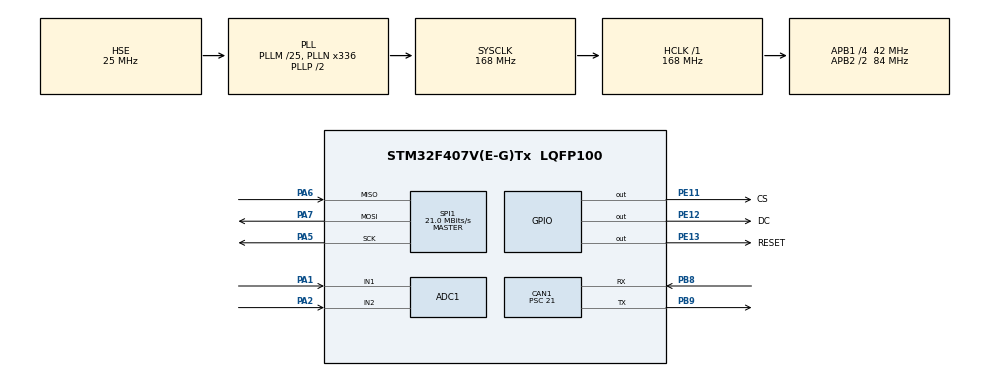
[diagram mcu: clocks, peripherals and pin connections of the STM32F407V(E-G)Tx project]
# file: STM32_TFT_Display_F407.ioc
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ADC1.Channel-0\#ChannelRegularConversion=ADC_CHANNEL_1
ADC1.ContinuousConvMode=ENABLE
ADC1.NbrOfConversionFlag=1
ADC1.Rank-0\#ChannelRegularConversion=1
ADC1.SamplingTime-0\#ChannelRegularConversion=ADC_SAMPLETIME_3CYCLES
ADC1.master=1
CAN1.BS1=CAN_BS1_2TQ
CAN1.CalculateBaudRate=500000
CAN1.CalculateTimeBit=2000
CAN1.CalculateTimeQuantum=500.0
CAN1.Mode=CAN_MODE_NORMAL
CAN1.NART=ENABLE
CAN1.Prescaler=21
Dma.Request0=SPI1_TX
Dma.SPI1_TX.0.Direction=DMA_MEMORY_TO_PERIPH
Dma.SPI1_TX.0.FIFOMode=DMA_FIFOMODE_DISABLE
Dma.SPI1_TX.0.Instance=DMA2_Stream3
Dma.SPI1_TX.0.MemDataAlignment=DMA_MDATAALIGN_BYTE
Dma.SPI1_TX.0.MemInc=DMA_MINC_ENABLE
Dma.SPI1_TX.0.Mode=DMA_NORMAL
Dma.SPI1_TX.0.PeriphDataAlignment=DMA_PDATAALIGN_BYTE
Dma.SPI1_TX.0.PeriphInc=DMA_PINC_DISABLE
Dma.SPI1_TX.0.Priority=DMA_PRIORITY_LOW
Mcu.Family=STM32F4
Mcu.Name=STM32F407V(E-G)Tx
Mcu.Package=LQFP100
NVIC.ADC_IRQn=true\:0\:0\:false\:false\:true\:true\:true\:true
NVIC.CAN1_RX1_IRQn=true\:4\:0\:true\:false\:true\:true\:true\:true
NVIC.DMA2_Stream3_IRQn=true\:5\:0\:true\:false\:true\:false\:true\:true
NVIC.PriorityGroup=NVIC_PRIORITYGROUP_4
NVIC.SPI1_IRQn=true\:5\:0\:true\:false\:true\:true\:true\:true
PA1.Signal=ADCx_IN1
PA13.Mode=Serial_Wire
PA13.Signal=SYS_JTMS-SWDIO
PA14.Mode=Serial_Wire
PA14.Signal=SYS_JTCK-SWCLK
PA2.Signal=ADCx_IN2
PA5.Mode=Full_Duplex_Master
PA5.Signal=SPI1_SCK
PA6.Mode=Full_Duplex_Master
PA6.Signal=SPI1_MISO
PA7.Mode=Full_Duplex_Master
PA7.Signal=SPI1_MOSI
PB8.Mode=CAN_Activate
PB8.Signal=CAN1_RX
PB9.Mode=CAN_Activate
PB9.Signal=CAN1_TX
PE11.GPIO_Label=CS
PE11.Signal=GPIO_Output
PE12.GPIO_Label=DC
PE12.Signal=GPIO_Output
PE13.GPIO_Label=RESET
PE13.Signal=GPIO_Output
PH0-OSC_IN.Mode=HSE-External-Oscillator
PH0-OSC_IN.Signal=RCC_OSC_IN
PH1-OSC_OUT.Mode=HSE-External-Oscillator
PH1-OSC_OUT.Signal=RCC_OSC_OUT
ProjectManager.HeapSize=0x200
ProjectManager.StackSize=0x400
ProjectManager.TargetToolchain=STM32CubeIDE
RCC.48MHZClocksFreq_Value=84000000
RCC.AHBFreq_Value=168000000
RCC.APB1CLKDivider=RCC_HCLK_DIV4
RCC.APB1Freq_Value=42000000
RCC.APB1TimFreq_Value=84000000
RCC.APB2CLKDivider=RCC_HCLK_DIV2
RCC.APB2Freq_Value=84000000
RCC.APB2TimFreq_Value=168000000
RCC.CortexFreq_Value=168000000
RCC.HCLKFreq_Value=168000000
RCC.HSE_VALUE=25000000
RCC.HSI_VALUE=16000000
RCC.LSE_VALUE=32768
RCC.PLLM=25
RCC.PLLN=336
RCC.PLLSourceVirtual=RCC_PLLSOURCE_HSE
RCC.RCC_RTC_Clock_SourceVirtual=RCC_RTCCLKSOURCE_HSE_DIV31
RCC.RCC_RTC_Clock_Source_FROM_HSE=RCC_RTCCLKSOURCE_HSE_DIV31
RCC.SYSCLKFreq_VALUE=168000000
RCC.SYSCLKSource=RCC_SYSCLKSOURCE_PLLCLK
RCC.VCOOutputFreq_Value=336000000
SH.ADCx_IN1.0=ADC1_IN1,IN1
SH.ADCx_IN2.0=ADC1_IN2,IN2
SPI1.BaudRatePrescaler=SPI_BAUDRATEPRESCALER_4
SPI1.CalculateBaudRate=21.0 MBits/s
SPI1.Direction=SPI_DIRECTION_2LINES
SPI1.Mode=SPI_MODE_MASTER
SPI1.VirtualType=VM_MASTER
VP_RTC_VS_RTC_Activate.Mode=RTC_Enabled
VP_RTC_VS_RTC_Calendar.Mode=RTC_Calendar
board=custom

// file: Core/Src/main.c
/* USER CODE BEGIN Header */
/**
 ******************************************************************************
 * @file           : main.c
 * @brief          : Main program body
 ******************************************************************************
 * @attention
 *
 * Copyright (c) 2025 STMicroelectronics.
 * All rights reserved.
 *
 * This software is licensed under terms that can be found in the LICENSE file
 * in the root directory of this software component.
 * If no LICENSE file comes with this software, it is provided AS-IS.
 *
 ******************************************************************************
 */
/* USER CODE END Header */
#include "main.h"

/* USER CODE BEGIN Includes */
#include "lvgl.h"
#include "LCDController.h"
#include "ili9486_lvgl.h"
#include "ui.h"

/* USER CODE END Includes */

ADC_HandleTypeDef hadc1;

CAN_HandleTypeDef hcan1;

RTC_HandleTypeDef hrtc;

SPI_HandleTypeDef hspi1;
DMA_HandleTypeDef hdma_spi1_tx;

/* USER CODE BEGIN PV */
// -- CAN variables --
CAN_TxHeaderTypeDef TxHeader; // Header instance for the transmit message
uint8_t TxData[8] = "Transmit"; // The data of the transmit message
uint32_t TxMailbox;

CAN_RxHeaderTypeDef RxHeaderBack; // Store the received message's header
CAN_FilterTypeDef sFilterConfig; // Filter configuration for the receive process
uint8_t RxDataBack[8]; // Store the received message

uint8_t speedValue = 0;
uint8_t delayCounter = 0; // To slow down the change in while loop without affecting the renderer

static lv_anim_t speedIndicatorArrowAnimation; // speed indicator arrow animation
int32_t rotationValue;
int32_t previousAngleValue = -1700;
uint8_t rotationDirection = 1;
bool toggleSignal = false;

uint16_t pedalValue = 0;

/* USER CODE END PV */

void SystemClock_Config(void);
static void MX_GPIO_Init(void);
static void MX_DMA_Init(void);
static void MX_SPI1_Init(void);
static void MX_RTC_Init(void);
static void MX_CAN1_Init(void);
static void MX_ADC1_Init(void);

/* USER CODE BEGIN 0 */
// -- Display speed value --
void update_speed_display(int new_speed) {
	char speed_str[10];
	sprintf(speed_str, "%d", new_speed); // Format the speed as a string

	if (ui_speed_value != NULL) { // Check if the label exists
		lv_label_set_text(ui_speed_value, speed_str);
	}
}

// -- Update the speed indicator arrow --
void update_speed_indicator_arrow(lv_obj_t *arrowObj, int32_t targetAngle,
		int32_t previousAngle, uint32_t duration) {
	if (!arrowObj) {
		return;
	}

	// Stop and delete any previous animation that might be using the _ui_anim_callback_set_image_angle on this object.
	lv_anim_del(arrowObj,
			(lv_anim_exec_xcb_t) _ui_anim_callback_set_image_angle);

	// This user_data holds the target object for the callback.
	ui_anim_user_data_t *user_data = (ui_anim_user_data_t*) lv_mem_alloc(
			sizeof(ui_anim_user_data_t));
	if (!user_data) {
		return; // Allocation failed
	}
	user_data->target = arrowObj;
	user_data->val = 0; // Or an appropriate default/indicator

	lv_anim_init(&speedIndicatorArrowAnimation);

	// Get the current visual angle of the needle as the starting point.
	// LVGL stores rotation in 0.1 degree units.
	int32_t current_angle_tenths = previousAngle;

	lv_anim_set_user_data(&speedIndicatorArrowAnimation, user_data);
	lv_anim_set_custom_exec_cb(&speedIndicatorArrowAnimation,
			_ui_anim_callback_set_image_angle);
	lv_anim_set_values(&speedIndicatorArrowAnimation, current_angle_tenths,
			targetAngle);
	lv_anim_set_time(&speedIndicatorArrowAnimation, duration);
	lv_anim_set_path_cb(&speedIndicatorArrowAnimation, lv_anim_path_linear); // Or lv_anim_path_linear, etc.
	lv_anim_set_deleted_cb(&speedIndicatorArrowAnimation,
			_ui_anim_callback_free_user_data); // Crucial for freeing user_data

	// Set other parameters to default values (no repeat, no playback for this use case)
	lv_anim_set_playback_time(&speedIndicatorArrowAnimation, 0);
	lv_anim_set_playback_delay(&speedIndicatorArrowAnimation, 0);
	lv_anim_set_repeat_count(&speedIndicatorArrowAnimation, 0); // LV_ANIM_REPEAT_INFINITE for looping
	lv_anim_set_repeat_delay(&speedIndicatorArrowAnimation, 0);
	lv_anim_set_early_apply(&speedIndicatorArrowAnimation, false);
	lv_anim_set_delay(&speedIndicatorArrowAnimation, 0); // No initial delay for direct speed updates

	lv_anim_start(&speedIndicatorArrowAnimation);
}

// -- Calling ready when the transfer has actually completed --
void HAL_SPI_TxCpltCallback(SPI_HandleTypeDef *hspi) {
	if (hspi->Instance == SPI1) // Check if it's the SPI connected to the display
	{
		lv_disp_drv_t *drv = lv_disp_get_default()->driver;
		if (drv) {
			lv_disp_flush_ready(drv);
		}
	}
}

// -- Toggle indicators --
void toggle_indicator(lv_obj_t *indicator_obj, bool is_active) {
	if (!indicator_obj) {
		return;
	}
	if (is_active) {
		lv_obj_clear_flag(indicator_obj, LV_OBJ_FLAG_HIDDEN); // Make it visible
	} else {
		lv_obj_add_flag(indicator_obj, LV_OBJ_FLAG_HIDDEN);   // Make it hidden
	}
}

// -- CAN Reception --
void HAL_CAN_RxFifo1MsgPendingCallback(CAN_HandleTypeDef *hcan) {
	HAL_CAN_GetRxMessage(&hcan1, CAN_RX_FIFO1, &RxHeaderBack, RxDataBack);
}
/* USER CODE END 0 */

int main(void)
{

  /* MCU Configuration--------------------------------------------------------*/

  /* Reset of all peripherals, Initializes the Flash interface and the Systick. */
  HAL_Init();

  /* Configure the system clock */
  SystemClock_Config();

  /* Initialize all configured peripherals */
  MX_GPIO_Init();
  MX_DMA_Init();
  MX_SPI1_Init();
  MX_RTC_Init();
  MX_CAN1_Init();
  MX_ADC1_Init();
  /* USER CODE BEGIN 2 */
	lv_init();
	lv_port_disp_init();
	ui_init();

	// -- CAN initialization --

	TxHeader.DLC = 8; // Length of the data field inside the data frame (Bytes)
	TxHeader.RTR = CAN_RTR_DATA;
	TxHeader.IDE = CAN_ID_STD;
	TxHeader.StdId = 0xAAA;

	// Reception filter configuration
	sFilterConfig.FilterActivation = CAN_FILTER_ENABLE; // Enable the filter bank
	sFilterConfig.FilterFIFOAssignment = CAN_FILTER_FIFO1;
	sFilterConfig.FilterMode = CAN_FILTERMODE_IDMASK;
	sFilterConfig.FilterScale = CAN_FILTERSCALE_32BIT;
	sFilterConfig.FilterIdHigh = 0x0000;
	sFilterConfig.FilterIdLow = 0;
	sFilterConfig.FilterMaskIdHigh = 0x0000; // SET 0 to unfilter
	sFilterConfig.FilterMaskIdLow = 0;

	if (HAL_CAN_ConfigFilter(&hcan1, &sFilterConfig) != HAL_OK) {
		Error_Handler();
	}

	if (HAL_CAN_Start(&hcan1) != HAL_OK) {
		Error_Handler(); // Put the CAN to work
	}

	if (HAL_CAN_ActivateNotification(&hcan1, CAN_IT_RX_FIFO1_MSG_PENDING)
			!= HAL_OK) {
		Error_Handler();
	}
  /* USER CODE END 2 */

  /* Infinite loop */
  /* USER CODE BEGIN WHILE */
	while (1) {
//		lv_timer_handler();
//		HAL_Delay(5);
    /* USER CODE END WHILE */

    /* USER CODE BEGIN 3 */
//		delayCounter++;
////		if (delayCounter % 10 == 0) {
////
////			if (speedValue == 70) {
////				speedValue = 0;
////			}
////			speedValue++;
////			update_speed_display(speedValue);
////			rotationValue = -1700 + speedValue * 43; // From 1700 to ~ 3000
////			update_speed_indicator_arrow(ui_speed_indicator_arrow,
////					rotationValue, previousAngleValue, 50);
////			previousAngleValue = rotationValue;
////		}
//
//		if (delayCounter % 30 == 0) {
//			speedValue = (speedValue == 0) ? 70 : 0;
//			update_speed_display(speedValue);
//
//			rotationValue = -1700 + speedValue * 43; // From 1700 to ~ 3000
//			update_speed_indicator_arrow(ui_speed_indicator_arrow,
//					rotationValue, previousAngleValue, 500);
//			previousAngleValue = rotationValue;
//		}
//
//		if (delayCounter == 15) {
//
//			toggleSignal = !toggleSignal;
//			toggle_indicator(ui_turn_signal_left, toggleSignal);
//		}
//
//		if (delayCounter == 20) {
//
//			toggleSignal = !toggleSignal;
//			toggle_indicator(ui_turn_signal_right, toggleSignal);
//		}
//
//		if (delayCounter == 25) {
//			//delayCounter = 0;
//
//			toggleSignal = !toggleSignal;
//			toggle_indicator(ui_engine_check, toggleSignal);
//		}

	}
  /* USER CODE END 3 */
}

void SystemClock_Config(void)
{
  RCC_OscInitTypeDef RCC_OscInitStruct = {0};
  RCC_ClkInitTypeDef RCC_ClkInitStruct = {0};

  /** Configure the main internal regulator output voltage
  */
  __HAL_RCC_PWR_CLK_ENABLE();
  __HAL_PWR_VOLTAGESCALING_CONFIG(PWR_REGULATOR_VOLTAGE_SCALE1);

  /** Initializes the RCC Oscillators according to the specified parameters
  * in the RCC_OscInitTypeDef structure.
  */
  RCC_OscInitStruct.OscillatorType = RCC_OSCILLATORTYPE_HSE;
  RCC_OscInitStruct.HSEState = RCC_HSE_ON;
  RCC_OscInitStruct.PLL.PLLState = RCC_PLL_ON;
  RCC_OscInitStruct.PLL.PLLSource = RCC_PLLSOURCE_HSE;
  RCC_OscInitStruct.PLL.PLLM = 25;
  RCC_OscInitStruct.PLL.PLLN = 336;
  RCC_OscInitStruct.PLL.PLLP = RCC_PLLP_DIV2;
  RCC_OscInitStruct.PLL.PLLQ = 4;
  if (HAL_RCC_OscConfig(&RCC_OscInitStruct) != HAL_OK)
  {
    Error_Handler();
  }

  /** Initializes the CPU, AHB and APB buses clocks
  */
  RCC_ClkInitStruct.ClockType = RCC_CLOCKTYPE_HCLK|RCC_CLOCKTYPE_SYSCLK
                              |RCC_CLOCKTYPE_PCLK1|RCC_CLOCKTYPE_PCLK2;
  RCC_ClkInitStruct.SYSCLKSource = RCC_SYSCLKSOURCE_PLLCLK;
  RCC_ClkInitStruct.AHBCLKDivider = RCC_SYSCLK_DIV1;
  RCC_ClkInitStruct.APB1CLKDivider = RCC_HCLK_DIV4;
  RCC_ClkInitStruct.APB2CLKDivider = RCC_HCLK_DIV2;

  if (HAL_RCC_ClockConfig(&RCC_ClkInitStruct, FLASH_LATENCY_5) != HAL_OK)
  {
    Error_Handler();
  }
}

static void MX_ADC1_Init(void)
{

  ADC_ChannelConfTypeDef sConfig = {0};

  /** Configure the global features of the ADC (Clock, Resolution, Data Alignment and number of conversion)
  */
  hadc1.Instance = ADC1;
  hadc1.Init.ClockPrescaler = ADC_CLOCK_SYNC_PCLK_DIV4;
  hadc1.Init.Resolution = ADC_RESOLUTION_12B;
  hadc1.Init.ScanConvMode = DISABLE;
  hadc1.Init.ContinuousConvMode = ENABLE;
  hadc1.Init.DiscontinuousConvMode = DISABLE;
  hadc1.Init.ExternalTrigConvEdge = ADC_EXTERNALTRIGCONVEDGE_NONE;
  hadc1.Init.ExternalTrigConv = ADC_SOFTWARE_START;
  hadc1.Init.DataAlign = ADC_DATAALIGN_RIGHT;
  hadc1.Init.NbrOfConversion = 1;
  hadc1.Init.DMAContinuousRequests = DISABLE;
  hadc1.Init.EOCSelection = ADC_EOC_SINGLE_CONV;
  if (HAL_ADC_Init(&hadc1) != HAL_OK)
  {
    Error_Handler();
  }

  /** Configure for the selected ADC regular channel its corresponding rank in the sequencer and its sample time.
  */
  sConfig.Channel = ADC_CHANNEL_1;
  sConfig.Rank = 1;
  sConfig.SamplingTime = ADC_SAMPLETIME_3CYCLES;
  if (HAL_ADC_ConfigChannel(&hadc1, &sConfig) != HAL_OK)
  {
    Error_Handler();
  }

}

static void MX_CAN1_Init(void)
{

  hcan1.Instance = CAN1;
  hcan1.Init.Prescaler = 21;
  hcan1.Init.Mode = CAN_MODE_NORMAL;
  hcan1.Init.SyncJumpWidth = CAN_SJW_1TQ;
  hcan1.Init.TimeSeg1 = CAN_BS1_2TQ;
  hcan1.Init.TimeSeg2 = CAN_BS2_1TQ;
  hcan1.Init.TimeTriggeredMode = DISABLE;
  hcan1.Init.AutoBusOff = DISABLE;
  hcan1.Init.AutoWakeUp = DISABLE;
  hcan1.Init.AutoRetransmission = ENABLE;
  hcan1.Init.ReceiveFifoLocked = DISABLE;
  hcan1.Init.TransmitFifoPriority = DISABLE;
  if (HAL_CAN_Init(&hcan1) != HAL_OK)
  {
    Error_Handler();
  }

}

static void MX_RTC_Init(void)
{

  RTC_TimeTypeDef sTime = {0};
  RTC_DateTypeDef sDate = {0};

  /** Initialize RTC Only
  */
  hrtc.Instance = RTC;
  hrtc.Init.HourFormat = RTC_HOURFORMAT_24;
  hrtc.Init.AsynchPrediv = 127;
  hrtc.Init.SynchPrediv = 255;
  hrtc.Init.OutPut = RTC_OUTPUT_DISABLE;
  hrtc.Init.OutPutPolarity = RTC_OUTPUT_POLARITY_HIGH;
  hrtc.Init.OutPutType = RTC_OUTPUT_TYPE_OPENDRAIN;
  if (HAL_RTC_Init(&hrtc) != HAL_OK)
  {
    Error_Handler();
  }

  /** Initialize RTC and set the Time and Date
  */
  sTime.Hours = 0x0;
  sTime.Minutes = 0x0;
  sTime.Seconds = 0x0;
  sTime.DayLightSaving = RTC_DAYLIGHTSAVING_NONE;
  sTime.StoreOperation = RTC_STOREOPERATION_RESET;
  if (HAL_RTC_SetTime(&hrtc, &sTime, RTC_FORMAT_BCD) != HAL_OK)
  {
    Error_Handler();
  }
  sDate.WeekDay = RTC_WEEKDAY_MONDAY;
  sDate.Month = RTC_MONTH_JANUARY;
  sDate.Date = 0x1;
  sDate.Year = 0x0;

  if (HAL_RTC_SetDate(&hrtc, &sDate, RTC_FORMAT_BCD) != HAL_OK)
  {
    Error_Handler();
  }

}

static void MX_SPI1_Init(void)
{

  /* SPI1 parameter configuration*/
  hspi1.Instance = SPI1;
  hspi1.Init.Mode = SPI_MODE_MASTER;
  hspi1.Init.Direction = SPI_DIRECTION_2LINES;
  hspi1.Init.DataSize = SPI_DATASIZE_8BIT;
  hspi1.Init.CLKPolarity = SPI_POLARITY_LOW;
  hspi1.Init.CLKPhase = SPI_PHASE_1EDGE;
  hspi1.Init.NSS = SPI_NSS_SOFT;
  hspi1.Init.BaudRatePrescaler = SPI_BAUDRATEPRESCALER_4;
  hspi1.Init.FirstBit = SPI_FIRSTBIT_MSB;
  hspi1.Init.TIMode = SPI_TIMODE_DISABLE;
  hspi1.Init.CRCCalculation = SPI_CRCCALCULATION_DISABLE;
  hspi1.Init.CRCPolynomial = 10;
  if (HAL_SPI_Init(&hspi1) != HAL_OK)
  {
    Error_Handler();
  }

}

static void MX_DMA_Init(void)
{

  /* DMA controller clock enable */
  __HAL_RCC_DMA2_CLK_ENABLE();

  /* DMA interrupt init */
  /* DMA2_Stream3_IRQn interrupt configuration */
  HAL_NVIC_SetPriority(DMA2_Stream3_IRQn, 5, 0);
  HAL_NVIC_EnableIRQ(DMA2_Stream3_IRQn);

}

static void MX_GPIO_Init(void)
{
  GPIO_InitTypeDef GPIO_InitStruct = {0};

  /* GPIO Ports Clock Enable */
  __HAL_RCC_GPIOH_CLK_ENABLE();
  __HAL_RCC_GPIOA_CLK_ENABLE();
  __HAL_RCC_GPIOE_CLK_ENABLE();
  __HAL_RCC_GPIOB_CLK_ENABLE();

  /*Configure GPIO pin Output Level */
  HAL_GPIO_WritePin(GPIOE, CS_Pin|DC_Pin|RESET_Pin, GPIO_PIN_RESET);

  /*Configure GPIO pins : CS_Pin DC_Pin RESET_Pin */
  GPIO_InitStruct.Pin = CS_Pin|DC_Pin|RESET_Pin;
  GPIO_InitStruct.Mode = GPIO_MODE_OUTPUT_PP;
  GPIO_InitStruct.Pull = GPIO_NOPULL;
  GPIO_InitStruct.Speed = GPIO_SPEED_FREQ_LOW;
  HAL_GPIO_Init(GPIOE, &GPIO_InitStruct);

}

void Error_Handler(void)
{
	__disable_irq();
	while (1) {
	}
}
